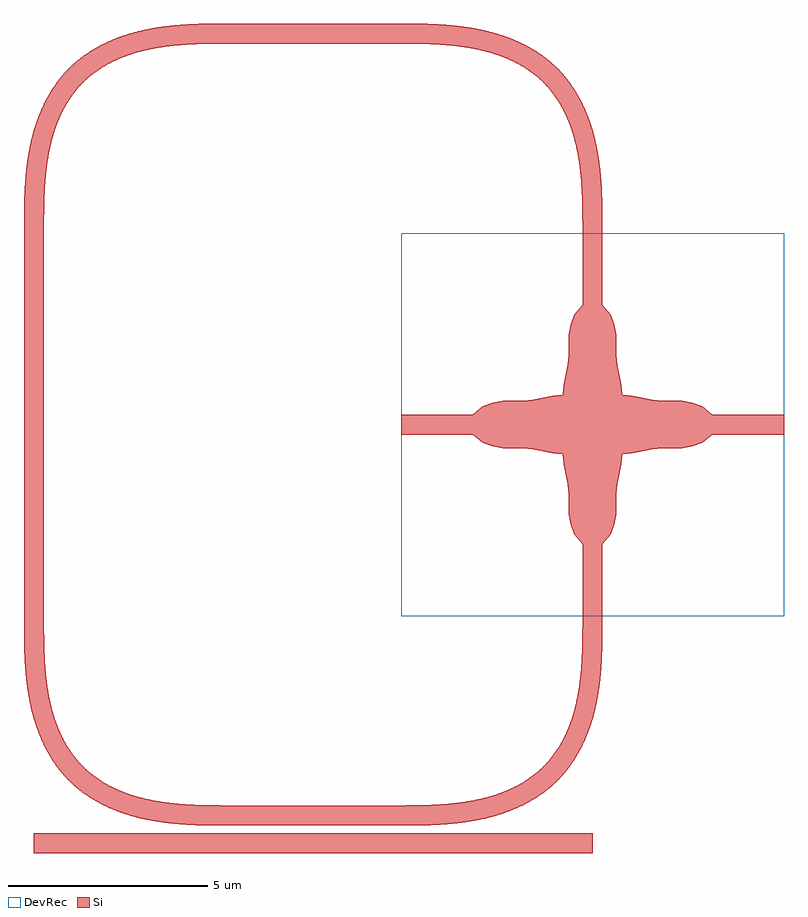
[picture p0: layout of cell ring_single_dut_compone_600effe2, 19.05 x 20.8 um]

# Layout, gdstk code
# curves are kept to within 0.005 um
from math import pi, radians
import gdstk
lib = gdstk.Library(unit=1e-6, precision=1e-09)
def R(c, l, rs):  # rectangles x0, y0, x1, y1
    for r in rs: c.add(gdstk.rectangle(r[:2], r[2:], *l))
def P(c, l, *ps):  # polygons
    for p in ps: c.add(gdstk.Polygon(p, *l))
Si = (1, 0)
DevRec = (68, 0)

coupler_ring_gap200n_le_ = lib.new_cell('coupler_ring_gap200n_le_ecf4769b')
R(coupler_ring_gap200n_le_, Si, [(-9,-0.25,-4,0.25), (-4,-0.25,0,0.25), (0,-0.25,5,0.25), (-4,0.45,0,0.95)])
P(coupler_ring_gap200n_le_, Si, [(-4,0.45),(-4.829,0.458),(-5.429,0.492),(-5.718,0.523),(-6.032,0.571),(-6.297,0.625),(-6.489,0.673),(-6.75,0.752),(-6.96,0.829),(-7.167,0.918),(-7.392,1.031),(-7.588,1.147),(-7.797,1.291),(-7.975,1.435),(-8.107,1.557),(-8.265,1.725),(-8.409,1.903),(-8.553,2.112),(-8.669,2.308),(-8.782,2.533),(-8.871,2.74),(-8.948,2.95),(-9.027,3.211),(-9.075,3.403),(-9.129,3.668),(-9.177,3.982),(-9.208,4.271),(-9.242,4.871),(-9.25,5.7),(-8.75,5.7),(-8.743,4.909),(-8.712,4.338),(-8.652,3.844),(-8.567,3.428),(-8.501,3.194),(-8.422,2.965),(-8.346,2.782),(-8.241,2.567),(-8.143,2.399),(-8.047,2.255),(-7.929,2.102),(-7.801,1.959),(-7.647,1.812),(-7.497,1.691),(-7.356,1.592),(-7.133,1.459),(-6.997,1.39),(-6.756,1.286),(-6.569,1.219),(-6.315,1.144),(-6.098,1.093),(-5.856,1.048),(-5.362,0.988),(-4.791,0.957),(-4,0.95)],
  [(0,0.45),(0.829,0.458),(1.429,0.492),(1.718,0.523),(2.032,0.571),(2.297,0.625),(2.489,0.673),(2.75,0.752),(2.96,0.829),(3.167,0.918),(3.392,1.031),(3.588,1.147),(3.797,1.291),(3.975,1.435),(4.107,1.557),(4.265,1.725),(4.409,1.903),(4.553,2.112),(4.669,2.308),(4.782,2.533),(4.871,2.74),(4.948,2.95),(5.027,3.211),(5.075,3.403),(5.129,3.668),(5.177,3.982),(5.208,4.271),(5.242,4.871),(5.25,5.7),(4.75,5.7),(4.743,4.909),(4.712,4.338),(4.652,3.844),(4.567,3.428),(4.501,3.194),(4.422,2.965),(4.346,2.782),(4.241,2.567),(4.143,2.399),(4.047,2.255),(3.929,2.102),(3.801,1.959),(3.647,1.812),(3.497,1.691),(3.356,1.592),(3.133,1.459),(2.997,1.39),(2.756,1.286),(2.569,1.219),(2.315,1.144),(2.098,1.093),(1.856,1.048),(1.362,0.988),(0.791,0.957),(0,0.95)])

straight_length9p6_width = lib.new_cell('straight_length9p6_width500n')
R(straight_length9p6_width, Si, [(0,-0.25,9.6,0.25)])

ebeam_crossing4 = lib.new_cell('ebeam_crossing4')
P(ebeam_crossing4, Si, [(-0.25,-4.8),(-0.25,-3),(-0.46,-2.75),(-0.55,-2.5),(-0.59,-2.25),(-0.6,-1.75),(-0.62,-1.5),(-0.72,-1),(-0.75,-0.74),(-1,-0.72),(-1.5,-0.62),(-1.75,-0.6),(-2.25,-0.59),(-2.5,-0.55),(-2.75,-0.46),(-3,-0.25),(-4.8,-0.25),(-4.8,0.25),(-3,0.25),(-2.75,0.46),(-2.5,0.55),(-2.25,0.59),(-1.75,0.6),(-1.5,0.62),(-1,0.72),(-0.75,0.74),(-0.72,1),(-0.62,1.5),(-0.6,1.75),(-0.59,2.25),(-0.55,2.5),(-0.46,2.75),(-0.25,3),(-0.25,4.8),(0.25,4.8),(0.25,3),(0.46,2.75),(0.55,2.5),(0.59,2.25),(0.6,1.75),(0.62,1.5),(0.72,1),(0.74,0.75),(1,0.72),(1.5,0.62),(1.75,0.6),(2.25,0.59),(2.5,0.55),(2.75,0.46),(3,0.25),(4.8,0.25),(4.8,-0.25),(3,-0.25),(2.75,-0.46),(2.5,-0.55),(2.25,-0.59),(1.75,-0.6),(1.5,-0.62),(1,-0.72),(0.74,-0.75),(0.72,-1),(0.62,-1.5),(0.6,-1.75),(0.59,-2.25),(0.55,-2.5),(0.46,-2.75),(0.25,-3),(0.25,-4.8)])
R(ebeam_crossing4, DevRec, [(-4.8,-4.8,4.8,4.8)])
ebeam_crossing4.add(gdstk.Label('Source: Wei Shi', (-4,-3), layer=10, texttype=0))
ebeam_crossing4.add(gdstk.Label('opt4', (4.8,0), layer=1, texttype=10))
ebeam_crossing4.add(gdstk.Label('opt2', (0,4.8), layer=1, texttype=10))
ebeam_crossing4.add(gdstk.Label('opt', (-4.8,0), layer=1, texttype=10))
ebeam_crossing4.add(gdstk.Label('opt3', (0,-4.8), layer=1, texttype=10))
ebeam_crossing4.add(gdstk.Label('Component=ebeam_crossing4', (-4,-1), layer=68, texttype=0))
ebeam_crossing4.add(gdstk.Label('Lumerical_INTERCONNECT_library=Design kits/ebeam', (-4,-4), layer=68, texttype=0))

bend_euler_radius5_width = lib.new_cell('bend_euler_radius5_width500n')
P(bend_euler_radius5_width, Si, [(0,-0.25),(0.829,-0.242),(1.429,-0.208),(1.718,-0.177),(2.032,-0.129),(2.297,-0.075),(2.489,-0.027),(2.75,0.052),(2.96,0.129),(3.167,0.218),(3.392,0.331),(3.588,0.447),(3.797,0.591),(3.975,0.735),(4.107,0.857),(4.265,1.025),(4.409,1.203),(4.553,1.412),(4.669,1.608),(4.782,1.833),(4.871,2.04),(4.948,2.25),(5.027,2.511),(5.075,2.703),(5.129,2.968),(5.177,3.282),(5.208,3.571),(5.242,4.171),(5.25,5),(4.75,5),(4.743,4.209),(4.712,3.638),(4.652,3.144),(4.567,2.728),(4.501,2.494),(4.422,2.265),(4.346,2.082),(4.241,1.867),(4.143,1.699),(4.047,1.555),(3.929,1.402),(3.801,1.259),(3.647,1.112),(3.497,0.991),(3.356,0.892),(3.133,0.759),(2.997,0.69),(2.756,0.586),(2.569,0.519),(2.315,0.444),(2.098,0.393),(1.856,0.348),(1.362,0.288),(0.791,0.257),(0,0.25)])

straight_length4_width50 = lib.new_cell('straight_length4_width500n')
R(straight_length4_width50, Si, [(0,-0.25,4,0.25)])

ring_single_dut_compone_ = lib.new_cell('ring_single_dut_compone_600effe2')
ring_single_dut_compone_.add(gdstk.Reference(coupler_ring_gap200n_le_, (0,0)))
ring_single_dut_compone_.add(gdstk.Reference(straight_length9p6_width, (-9,15.3), rotation=3*pi/2))
ring_single_dut_compone_.add(gdstk.Reference(ebeam_crossing4, (5,10.5), rotation=3*pi/2))
ring_single_dut_compone_.add(gdstk.Reference(bend_euler_radius5_width, (-4,20.3), rotation=pi))
ring_single_dut_compone_.add(gdstk.Reference(bend_euler_radius5_width, (5,15.3), rotation=pi/2))
ring_single_dut_compone_.add(gdstk.Reference(straight_length4_width50, (-4,20.3)))

lib.write_gds('ring_single_dut_compone_600effe2.gds')
